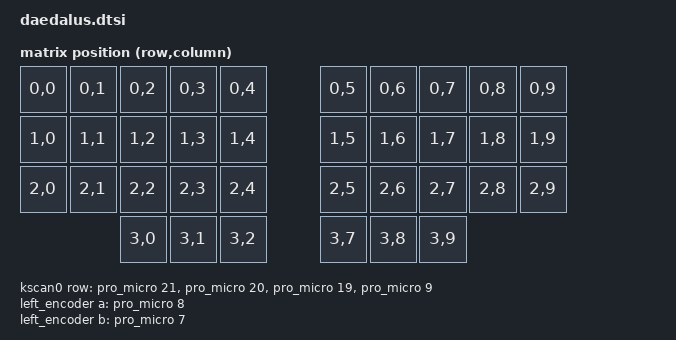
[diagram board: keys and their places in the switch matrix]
#include <dt-bindings/zmk/matrix_transform.h>
#include <behaviors.dtsi>
#include "daedalus-layouts.dtsi"

&physical_layout0 {
    transform = <&default_transform>;
};

&mt {
    tapping-term-ms = <500>;
    flavor = "tap-preferred";
};

/ {
    chosen {
        zmk,kscan = &kscan0;
        zmk,physical-layout = &physical_layout0;
    };

    default_transform: keymap_transform_0 {
        compatible = "zmk,matrix-transform";
        columns = <10>;
        rows = <4>;

            // | SW3  | SW6  | SW9  | SW12 | SW15 |                     | SW33 | SW30 | SW27 | SW24 | SW21 |
            // | SW2  | SW5  | SW8  | SW11 | SW14 |                     | SW32 | SW29 | SW26 | SW23 | SW20 |
            // | SW1  | SW4  | SW7  | SW10 | SW13 |                     | SW31 | SW28 | SW25 | SW22 | SW19 |
            // | SW16 | SW17 | SW18 |                                                 | SW36 | SW35 | SW34 |

        map = <
            RC(0,0) RC(0,1) RC(0,2) RC(0,3) RC(0,4)                 RC(0,5) RC(0,6) RC(0,7) RC(0,8) RC(0,9)
            RC(1,0) RC(1,1) RC(1,2) RC(1,3) RC(1,4)                 RC(1,5) RC(1,6) RC(1,7) RC(1,8) RC(1,9)
            RC(2,0) RC(2,1) RC(2,2) RC(2,3) RC(2,4)                 RC(2,5) RC(2,6) RC(2,7) RC(2,8) RC(2,9)
            RC(3,0) RC(3,1) RC(3,2)                                                 RC(3,7) RC(3,8) RC(3,9)
        >;
    };

    kscan0: kscan {
        compatible = "zmk,kscan-gpio-matrix";
        wakeup-source;
        diode-direction = "col2row";
        row-gpios
            = <&pro_micro 21 (GPIO_ACTIVE_HIGH | GPIO_PULL_DOWN)> // TOP
            , <&pro_micro 20 (GPIO_ACTIVE_HIGH | GPIO_PULL_DOWN)> // HOME
            , <&pro_micro 19 (GPIO_ACTIVE_HIGH | GPIO_PULL_DOWN)> // BOTTOM
            , <&pro_micro 9 (GPIO_ACTIVE_HIGH | GPIO_PULL_DOWN)> // THUMB
            ;
    };

    left_encoder: encoder_left {
        label = "LEFT_ENCODER";
        compatible = "alps,ec11";
        a-gpios = <&pro_micro 8 (GPIO_ACTIVE_HIGH | GPIO_PULL_DOWN)>; // Pin A
        b-gpios = <&pro_micro 7 (GPIO_ACTIVE_HIGH | GPIO_PULL_DOWN)>; // Pin B
        steps = <20>; // Unknown, change if needed
        status = "disabled"; // Why tho?
    };

    sensors {
        compatible = "zmk,keymap-sensors";
        sensors = <&left_encoder>;
        triggers-per-rotation = <20>; // Same as steps, still unknown
    };
/*
    glidepoint_listener {
        compatible = "zmk,input-listener";
        device = <&glidepoint>;
        // Add necessary input-processors once tested
    };
*/
};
